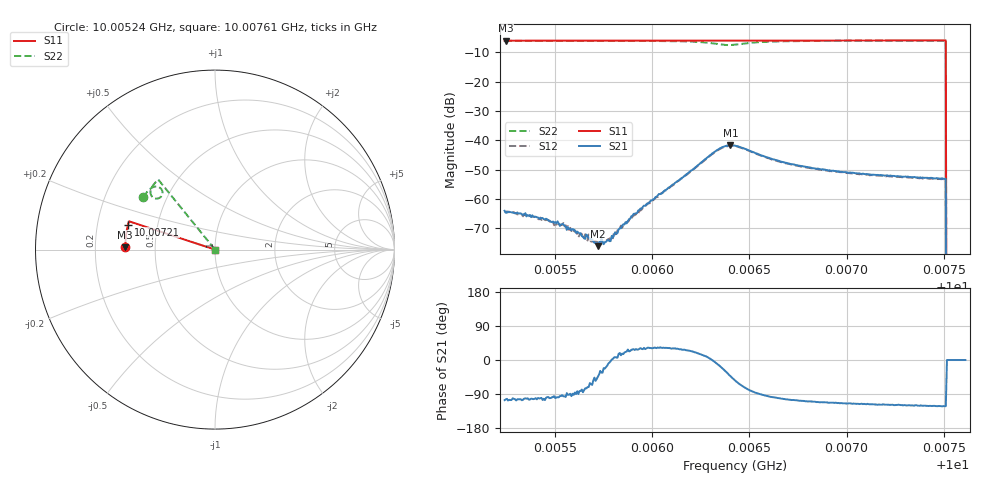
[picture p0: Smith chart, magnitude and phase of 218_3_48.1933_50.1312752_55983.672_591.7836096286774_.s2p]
#  HZ  S  RI  R  50.00
! Rohde & Schwarz Vector Network Analyzer
! Rohde-Schwarz,ZNB20-2Port,1311601062101988,3.16
! Created: UTC 3/20/2024, 11:45:50 AM
! freq[Hz]  re:S11  im:S11  re:S21  im:S21  re:S12  im:S12  re:S22  im:S22
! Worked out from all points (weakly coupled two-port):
!   401 points, 10.00524 GHz to 10.00761 GHz, reference 50 ohm
!   highest |S21| = -41.70 dB at 10.0064 GHz (marker M1); lowest = -76.1 dB at 10.00572 GHz (marker M2)
!   lowest |S11| = -6.0 dB at 10.00525 GHz (marker M3), VSWR 3.00, Z = 16.7 + j0.599 ohm
!   |S11| at or under -10 dB: 10.00751 GHz to end of sweep
!   |S22| runs from - to -6.0 dB; largest |S21 - S12| = 0.00049
!   S11 on the Smith chart (normalised r, x): 10.00524 GHz: 0.33, +0.01; 10.00721 GHz: 0.34, +0.13; 10.00761 GHz: 1.00, +0.00
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1.0005239e10  -0.5001 0.0131  -0.000171 -0.000603  -0.000115 -0.000605  -0.4004 0.2921
1.0005245e10  -0.5 0.0135  -0.000144 -0.000567  -0.000124 -0.000567  -0.4001 0.2923
1.0005453e10  -0.4997 0.027  -7.5e-05 -0.000452  -6.06e-05 -0.000431  -0.3915 0.3047
1.00055e10  -0.4998 0.0301  -7.3e-05 -0.000394  -3.61e-05 -0.000363  -0.3896 0.3076
1.0005554e10  -0.4998 0.0336  -4.51e-05 -0.00034  1.41e-05 -0.000354  -0.3871 0.3109
1.0005637e10  -0.4995 0.039  4.85e-05 -0.000227  4.89e-05 -0.000246  -0.3832 0.316
1.0005672e10  -0.4994 0.0412  7.01e-05 -0.000208  9.67e-05 -0.000228  -0.3812 0.3181
1.000572e10  -0.4992 0.0444  0.000113 -0.000108  0.000129 -0.000118  -0.3788 0.321
1.0005744e10  -0.4992 0.0459  0.000156 -0.000103  0.000173 -7.87e-05  -0.3774 0.3225
1.0005785e10  -0.499 0.0485  0.00019 -1.16e-05  0.000234 2.54e-05  -0.3752 0.3252
1.0005904e10  -0.4985 0.0563  0.000488 0.000266  0.000461 0.000244  -0.3675 0.3331
1.0006034e10  -0.4974 0.0647  0.00103 0.000642  0.000913 0.000657  -0.3564 0.3421
1.0006325e10  -0.4946 0.0833  0.00644 -0.000737  0.00632 -0.00038  -0.2956 0.3311
1.0006402e10  -0.494 0.0877  0.00606 -0.00556  0.00618 -0.00516  -0.3069 0.2895
1.0006426e10  -0.4938 0.0893  0.00477 -0.00653  0.00499 -0.00616  -0.3202 0.2843
1.0006639e10  -0.4923 0.1029  -0.000755 -0.00448  -0.000573 -0.00444  -0.3593 0.3264
1.0006823e10  -0.4901 0.1145  -0.00112 -0.00314  -0.000989 -0.00317  -0.3514 0.3481
1.0007215e10  -0.4846 0.1393  -0.00117 -0.00218  -0.00103 -0.00221  -0.3311 0.3747
1.000722e10  -0.4845 0.1397  -0.00118 -0.00218  -0.00105 -0.00218  -0.3307 0.3751
1.0007499e10  -0.4797 0.1571  -0.00116 -0.00188  -0.00106 -0.00189  -0.3167 0.3895
1.0007529e10  0 0  0 0  0 0  0 0
1.0007612e10  0 0  0 0  0 0  0 0
